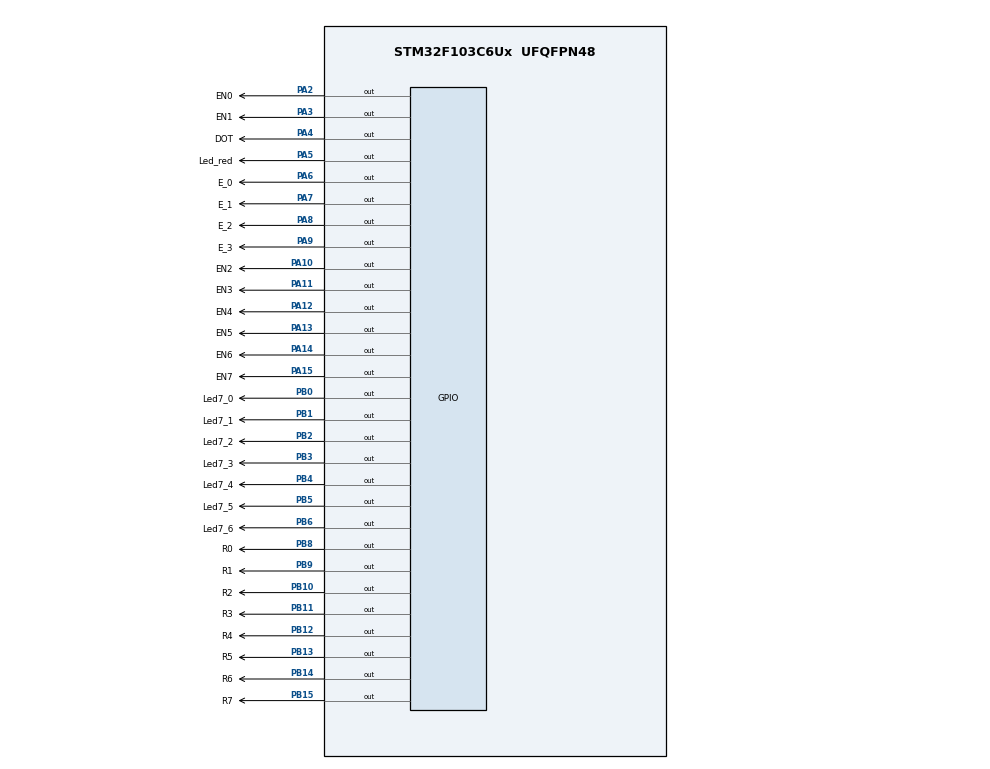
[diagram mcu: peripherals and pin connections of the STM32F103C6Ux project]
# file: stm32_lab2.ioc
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Mcu.Family=STM32F1
Mcu.Name=STM32F103C6Ux
Mcu.Package=UFQFPN48
NVIC.PriorityGroup=NVIC_PRIORITYGROUP_4
NVIC.TIM2_IRQn=true\:0\:0\:false\:false\:true\:true\:true
PA10.GPIO_Label=EN2
PA10.Signal=GPIO_Output
PA11.GPIO_Label=EN3
PA11.Signal=GPIO_Output
PA12.GPIO_Label=EN4
PA12.Signal=GPIO_Output
PA13.GPIO_Label=EN5
PA13.Signal=GPIO_Output
PA14.GPIO_Label=EN6
PA14.Signal=GPIO_Output
PA15.GPIO_Label=EN7
PA15.Signal=GPIO_Output
PA2.GPIO_Label=EN0
PA2.Signal=GPIO_Output
PA3.GPIO_Label=EN1
PA3.Signal=GPIO_Output
PA4.GPIO_Label=DOT
PA4.Signal=GPIO_Output
PA5.GPIO_Label=Led_red
PA5.Signal=GPIO_Output
PA6.GPIO_Label=E_0
PA6.Signal=GPIO_Output
PA7.GPIO_Label=E_1
PA7.Signal=GPIO_Output
PA8.GPIO_Label=E_2
PA8.Signal=GPIO_Output
PA9.GPIO_Label=E_3
PA9.Signal=GPIO_Output
PB0.GPIO_Label=Led7_0
PB0.Signal=GPIO_Output
PB1.GPIO_Label=Led7_1
PB1.Signal=GPIO_Output
PB10.GPIO_Label=R2
PB10.Signal=GPIO_Output
PB11.GPIO_Label=R3
PB11.Signal=GPIO_Output
PB12.GPIO_Label=R4
PB12.Signal=GPIO_Output
PB13.GPIO_Label=R5
PB13.Signal=GPIO_Output
PB14.GPIO_Label=R6
PB14.Signal=GPIO_Output
PB15.GPIO_Label=R7
PB15.Signal=GPIO_Output
PB2.GPIO_Label=Led7_2
PB2.Signal=GPIO_Output
PB3.GPIO_Label=Led7_3
PB3.Signal=GPIO_Output
PB4.GPIO_Label=Led7_4
PB4.Signal=GPIO_Output
PB5.GPIO_Label=Led7_5
PB5.Signal=GPIO_Output
PB6.GPIO_Label=Led7_6
PB6.Signal=GPIO_Output
PB8.GPIO_Label=R0
PB8.Signal=GPIO_Output
PB9.GPIO_Label=R1
PB9.Signal=GPIO_Output
ProjectManager.HeapSize=0x200
ProjectManager.StackSize=0x400
ProjectManager.TargetToolchain=STM32CubeIDE
RCC.APB1Freq_Value=8000000
RCC.APB2Freq_Value=8000000
TIM2.Period=9
TIM2.Prescaler=7999
VP_SYS_VS_ND.Mode=No_Debug
VP_TIM2_VS_ClockSourceINT.Mode=Internal
board=custom

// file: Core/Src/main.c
/* USER CODE BEGIN Header */
/**
 ******************************************************************************
 * @file           : main.c
 * @brief          : Main program body
 ******************************************************************************
 * @attention
 *
 * <h2><center>&copy; Copyright (c) 2023 STMicroelectronics.
 * All rights reserved.</center></h2>
 *
 * This software component is licensed by ST under BSD 3-Clause license,
 * the "License"; You may not use this file except in compliance with the
 * License. You may obtain a copy of the License at:
 *                        opensource.org/licenses/BSD-3-Clause
 *
 ******************************************************************************
 */
/* USER CODE END Header */
#include "main.h"

/* USER CODE BEGIN Includes */
//#include "software_timer.h"
#include "led7seg.h"
#include "update7seg.h"
#include "software_timer.h"
#include "offAllLedMatrix.h"
#include <stdbool.h>
/* USER CODE END Includes */

/* USER CODE BEGIN PM */

const int MAX_LED_MATRIX = 8;
int index_led_matrix = 0;
uint8_t matrix_buffer[8] = {0x18, 0x3C, 0x66, 0xC3, 0xC3, 0xC3, 0xC3, 0xC3};

//

void setRow(uint8_t matrix_buffer){
	for (int i =0 ;i <MAX_LED_MATRIX; i++){
		bool statusLed = (matrix_buffer >> (7 - i)) & 1;
		if (statusLed == 1) {
			onCol(i);
		}
	}
}
void updateLEDMatrix(int index){
	switch(index){
	case 0:
		setRow(matrix_buffer[0]);
		break;
	case 1:
		setRow(matrix_buffer[1]);
		break;
	case 2:
		setRow(matrix_buffer[2]);
		break;
	case 3:
		setRow(matrix_buffer[3]);
		break;
	case 4:
		setRow(matrix_buffer[4]);
		break;
	case 5:
		setRow(matrix_buffer[5]);
		break;
	case 6:
		setRow(matrix_buffer[6]);
		break;
	case 7:
		setRow(matrix_buffer[7]);
		break;
	default:
		offAllMaxtrix();
		break;
	}
}

void displayLedMatrix() {
	if (index_led_matrix < 8) {
		// turn all
		offAllMaxtrix();
		// turn row
		onRow(index_led_matrix);
		// scan led
		updateLEDMatrix(index_led_matrix);
	}
	index_led_matrix++;
	if (index_led_matrix >= 8) {
		index_led_matrix = 0;
	}
}
/* USER CODE END PM */

TIM_HandleTypeDef htim2;

void SystemClock_Config(void);
static void MX_GPIO_Init(void);
static void MX_TIM2_Init(void);

/* USER CODE BEGIN 0 */
void updateClockBuffer(int,int);
/* USER CODE END 0 */

int main(void)
{

  /* MCU Configuration--------------------------------------------------------*/

  /* Reset of all peripherals, Initializes the Flash interface and the Systick. */
  HAL_Init();

  /* Configure the system clock */
  SystemClock_Config();

  /* Initialize all configured peripherals */
  MX_GPIO_Init();
  MX_TIM2_Init();
  /* USER CODE BEGIN 2 */
	HAL_TIM_Base_Start_IT(&htim2);
  /* USER CODE END 2 */

  /* Infinite loop */
  /* USER CODE BEGIN WHILE */
	 setTimer1(10);
	 setTimer2(100);
	  while (1)
	  {
		  if (timer1_flag == 1){
			  setTimer1(10);
			  displayLedMatrix();
		  }
		  if (timer2_flag == 1){
			  setTimer2(100);
			  HAL_GPIO_TogglePin(Led_red_GPIO_Port, Led_red_Pin);
		  }
    /* USER CODE END WHILE */

	}
}

void SystemClock_Config(void)
{
  RCC_OscInitTypeDef RCC_OscInitStruct = {0};
  RCC_ClkInitTypeDef RCC_ClkInitStruct = {0};

  /** Initializes the RCC Oscillators according to the specified parameters
  * in the RCC_OscInitTypeDef structure.
  */
  RCC_OscInitStruct.OscillatorType = RCC_OSCILLATORTYPE_HSI;
  RCC_OscInitStruct.HSIState = RCC_HSI_ON;
  RCC_OscInitStruct.HSICalibrationValue = RCC_HSICALIBRATION_DEFAULT;
  RCC_OscInitStruct.PLL.PLLState = RCC_PLL_NONE;
  if (HAL_RCC_OscConfig(&RCC_OscInitStruct) != HAL_OK)
  {
    Error_Handler();
  }
  /** Initializes the CPU, AHB and APB buses clocks
  */
  RCC_ClkInitStruct.ClockType = RCC_CLOCKTYPE_HCLK|RCC_CLOCKTYPE_SYSCLK
                              |RCC_CLOCKTYPE_PCLK1|RCC_CLOCKTYPE_PCLK2;
  RCC_ClkInitStruct.SYSCLKSource = RCC_SYSCLKSOURCE_HSI;
  RCC_ClkInitStruct.AHBCLKDivider = RCC_SYSCLK_DIV1;
  RCC_ClkInitStruct.APB1CLKDivider = RCC_HCLK_DIV1;
  RCC_ClkInitStruct.APB2CLKDivider = RCC_HCLK_DIV1;

  if (HAL_RCC_ClockConfig(&RCC_ClkInitStruct, FLASH_LATENCY_0) != HAL_OK)
  {
    Error_Handler();
  }
}

static void MX_TIM2_Init(void)
{

  TIM_ClockConfigTypeDef sClockSourceConfig = {0};
  TIM_MasterConfigTypeDef sMasterConfig = {0};

  htim2.Instance = TIM2;
  htim2.Init.Prescaler = 7999;
  htim2.Init.CounterMode = TIM_COUNTERMODE_UP;
  htim2.Init.Period = 9;
  htim2.Init.ClockDivision = TIM_CLOCKDIVISION_DIV1;
  htim2.Init.AutoReloadPreload = TIM_AUTORELOAD_PRELOAD_DISABLE;
  if (HAL_TIM_Base_Init(&htim2) != HAL_OK)
  {
    Error_Handler();
  }
  sClockSourceConfig.ClockSource = TIM_CLOCKSOURCE_INTERNAL;
  if (HAL_TIM_ConfigClockSource(&htim2, &sClockSourceConfig) != HAL_OK)
  {
    Error_Handler();
  }
  sMasterConfig.MasterOutputTrigger = TIM_TRGO_RESET;
  sMasterConfig.MasterSlaveMode = TIM_MASTERSLAVEMODE_DISABLE;
  if (HAL_TIMEx_MasterConfigSynchronization(&htim2, &sMasterConfig) != HAL_OK)
  {
    Error_Handler();
  }

}

static void MX_GPIO_Init(void)
{
  GPIO_InitTypeDef GPIO_InitStruct = {0};

  /* GPIO Ports Clock Enable */
  __HAL_RCC_GPIOA_CLK_ENABLE();
  __HAL_RCC_GPIOB_CLK_ENABLE();

  /*Configure GPIO pin Output Level */
  HAL_GPIO_WritePin(GPIOA, EN0_Pin|EN1_Pin|DOT_Pin|Led_red_Pin
                          |E_0_Pin|E_1_Pin|E_2_Pin|E_3_Pin
                          |EN2_Pin|EN3_Pin|EN4_Pin|EN5_Pin
                          |EN6_Pin|EN7_Pin, GPIO_PIN_RESET);

  /*Configure GPIO pin Output Level */
  HAL_GPIO_WritePin(GPIOB, Led7_0_Pin|Led7_1_Pin|Led7_2_Pin|R2_Pin
                          |R3_Pin|R4_Pin|R5_Pin|R6_Pin
                          |R7_Pin|Led7_3_Pin|Led7_4_Pin|Led7_5_Pin
                          |Led7_6_Pin|R0_Pin|R1_Pin, GPIO_PIN_RESET);

  /*Configure GPIO pins : EN0_Pin EN1_Pin DOT_Pin Led_red_Pin
                           E_0_Pin E_1_Pin E_2_Pin E_3_Pin
                           EN2_Pin EN3_Pin EN4_Pin EN5_Pin
                           EN6_Pin EN7_Pin */
  GPIO_InitStruct.Pin = EN0_Pin|EN1_Pin|DOT_Pin|Led_red_Pin
                          |E_0_Pin|E_1_Pin|E_2_Pin|E_3_Pin
                          |EN2_Pin|EN3_Pin|EN4_Pin|EN5_Pin
                          |EN6_Pin|EN7_Pin;
  GPIO_InitStruct.Mode = GPIO_MODE_OUTPUT_PP;
  GPIO_InitStruct.Pull = GPIO_NOPULL;
  GPIO_InitStruct.Speed = GPIO_SPEED_FREQ_LOW;
  HAL_GPIO_Init(GPIOA, &GPIO_InitStruct);

  /*Configure GPIO pins : Led7_0_Pin Led7_1_Pin Led7_2_Pin R2_Pin
                           R3_Pin R4_Pin R5_Pin R6_Pin
                           R7_Pin Led7_3_Pin Led7_4_Pin Led7_5_Pin
                           Led7_6_Pin R0_Pin R1_Pin */
  GPIO_InitStruct.Pin = Led7_0_Pin|Led7_1_Pin|Led7_2_Pin|R2_Pin
                          |R3_Pin|R4_Pin|R5_Pin|R6_Pin
                          |R7_Pin|Led7_3_Pin|Led7_4_Pin|Led7_5_Pin
                          |Led7_6_Pin|R0_Pin|R1_Pin;
  GPIO_InitStruct.Mode = GPIO_MODE_OUTPUT_PP;
  GPIO_InitStruct.Pull = GPIO_NOPULL;
  GPIO_InitStruct.Speed = GPIO_SPEED_FREQ_LOW;
  HAL_GPIO_Init(GPIOB, &GPIO_InitStruct);

}

/* USER CODE BEGIN 4 */

void HAL_TIM_PeriodElapsedCallback(TIM_HandleTypeDef *htim) {
	timeRun();
}

void updateClockBuffer(int h,  int min) {
	int temp = h / 10;
	led_buffer[0] = temp;
	temp = h % 10;
	led_buffer[1] = temp;
	temp = min / 10;
	led_buffer[2] = temp;
	temp = min % 10;
	led_buffer[3] = temp;
}

/* USER CODE END 4 */

void Error_Handler(void)
{
	__disable_irq();
	while (1) {
	}
}

/************************ (C) COPYRIGHT STMicroelectronics *****END OF FILE****/
